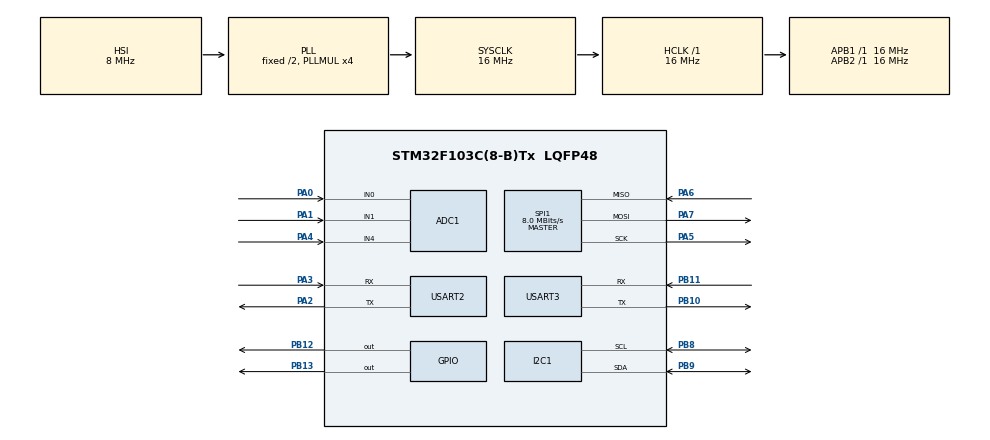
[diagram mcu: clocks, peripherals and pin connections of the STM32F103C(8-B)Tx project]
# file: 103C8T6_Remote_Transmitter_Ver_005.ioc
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ADC1.Channel-0\#ChannelRegularConversion=ADC_CHANNEL_4
ADC1.NbrOfConversion=1
ADC1.NbrOfConversionFlag=1
ADC1.Rank-0\#ChannelRegularConversion=1
ADC1.SamplingTime-0\#ChannelRegularConversion=ADC_SAMPLETIME_239CYCLES_5
ADC1.master=1
Mcu.Family=STM32F1
Mcu.Name=STM32F103C(8-B)Tx
Mcu.Package=LQFP48
NVIC.PriorityGroup=NVIC_PRIORITYGROUP_4
NVIC.USART3_IRQn=true\:0\:0\:false\:false\:true\:true\:true\:true
PA0-WKUP.Signal=ADCx_IN0
PA1.Signal=ADCx_IN1
PA13.Mode=Serial_Wire
PA13.Signal=SYS_JTMS-SWDIO
PA14.Mode=Serial_Wire
PA14.Signal=SYS_JTCK-SWCLK
PA2.Mode=Asynchronous
PA2.Signal=USART2_TX
PA3.Mode=Asynchronous
PA3.Signal=USART2_RX
PA4.Signal=ADCx_IN4
PA5.Mode=Full_Duplex_Master
PA5.Signal=SPI1_SCK
PA6.Mode=Full_Duplex_Master
PA6.Signal=SPI1_MISO
PA7.Mode=Full_Duplex_Master
PA7.Signal=SPI1_MOSI
PB10.Mode=Asynchronous
PB10.Signal=USART3_TX
PB11.Mode=Asynchronous
PB11.Signal=USART3_RX
PB12.Signal=GPIO_Output
PB13.Signal=GPIO_Output
PB8.Mode=I2C
PB8.Signal=I2C1_SCL
PB9.Mode=I2C
PB9.Signal=I2C1_SDA
PC14-OSC32_IN.Mode=LSE-External-Oscillator
PC14-OSC32_IN.Signal=RCC_OSC32_IN
PC15-OSC32_OUT.Mode=LSE-External-Oscillator
PC15-OSC32_OUT.Signal=RCC_OSC32_OUT
PD0-OSC_IN.Mode=HSE-External-Oscillator
PD0-OSC_IN.Signal=RCC_OSC_IN
PD1-OSC_OUT.Mode=HSE-External-Oscillator
PD1-OSC_OUT.Signal=RCC_OSC_OUT
ProjectManager.HeapSize=0x200
ProjectManager.StackSize=0x400
ProjectManager.TargetToolchain=STM32CubeIDE
RCC.AHBFreq_Value=16000000
RCC.APB1Freq_Value=16000000
RCC.APB1TimFreq_Value=16000000
RCC.APB2Freq_Value=16000000
RCC.APB2TimFreq_Value=16000000
RCC.HCLKFreq_Value=16000000
RCC.PLLMUL=RCC_PLL_MUL4
RCC.SYSCLKFreq_VALUE=16000000
RCC.SYSCLKSource=RCC_SYSCLKSOURCE_PLLCLK
RCC.USBFreq_Value=16000000
SH.ADCx_IN0.0=ADC1_IN0,IN0
SH.ADCx_IN1.0=ADC1_IN1,IN1
SH.ADCx_IN4.0=ADC1_IN4,IN4
SPI1.CalculateBaudRate=8.0 MBits/s
SPI1.Direction=SPI_DIRECTION_2LINES
SPI1.Mode=SPI_MODE_MASTER
SPI1.VirtualType=VM_MASTER
USART2.VirtualMode=VM_ASYNC
USART3.VirtualMode=VM_ASYNC
board=custom

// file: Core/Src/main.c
/* USER CODE BEGIN Header */
/**
 ******************************************************************************
 * @file           : main.c
 * @brief          : Main program body
 ******************************************************************************
 * @attention
 *
 * Copyright (c) 2025 STMicroelectronics.
 * All rights reserved.
 *
 * This software is licensed under terms that can be found in the LICENSE file
 * in the root directory of this software component.
 * If no LICENSE file comes with this software, it is provided AS-IS.
 *
 ******************************************************************************
 */
/* USER CODE END Header */
#include "main.h"

/* USER CODE BEGIN Includes */
#include "ssd1306.h"
#include <string.h>
#include <stdio.h>
#include <stdlib.h>
#include <stdint.h>
/* USER CODE END Includes */

/* USER CODE BEGIN PTD */
/* ===== NRF24 PROTOTYPES ===== */
void Run_NRF24_Test(void);
uint8_t nrf24_read_reg(uint8_t reg);
void nrf24_write_reg(uint8_t reg, uint8_t value);

/* ===== NRF24 COMMANDS ===== */
/* USER CODE BEGIN PTD */

// --- nRF24 commands & registers ---
#define NRF_CMD_R_REGISTER   0x00
#define NRF_CMD_W_REGISTER   0x20

#define NRF_REG_CONFIG       0x00
#define NRF_REG_RF_CH        0x05
#define NRF_REG_RF_SETUP     0x06
#define NRF_REG_STATUS       0x07

// --- nRF24 pin mapping (we are using: CSN=PB12, CE=PB13) ---
#define NRF_CSN_PORT         GPIOB
#define NRF_CSN_PIN          GPIO_PIN_12

#define NRF_CE_PORT          GPIOB
#define NRF_CE_PIN           GPIO_PIN_13

// helper macros
#define CE_HIGH()  HAL_GPIO_WritePin(NRF_CE_PORT, NRF_CE_PIN, GPIO_PIN_SET)
#define CE_LOW()   HAL_GPIO_WritePin(NRF_CE_PORT, NRF_CE_PIN, GPIO_PIN_RESET)
#define CSN_HIGH() HAL_GPIO_WritePin(NRF_CSN_PORT, NRF_CSN_PIN, GPIO_PIN_SET)
#define CSN_LOW()  HAL_GPIO_WritePin(NRF_CSN_PORT, NRF_CSN_PIN, GPIO_PIN_RESET)

/* USER CODE END PTD */

ADC_HandleTypeDef hadc1;

I2C_HandleTypeDef hi2c1;

SPI_HandleTypeDef hspi1;

UART_HandleTypeDef huart2;
UART_HandleTypeDef huart3;

/* USER CODE BEGIN PV */
#define RBUF_SIZE 256
volatile uint8_t rbuf[RBUF_SIZE];
volatile uint16_t rhead = 0, rtail = 0;

/* rx byte for interrupt */
uint8_t rx3_byte;

/* temporary line parser */
char line[48];
uint8_t line_idx = 0;

uint8_t cursor = 1;
uint8_t menu = 0; // 0 = main menu displayed (after unlock), 1 = test equipment submenu
int ui_state = 0; // 0 = locked/idle, 1 = Number Mode, 2 = Arrow Mode, 3 = Unlocked (menu active)

/* button counting */
int btn_counts[10]; // index by button ID 1..9 (we'll ignore 0)
uint32_t last_digit_time = 0; // rate limit for number entry (ms)
char passbuf[5]; // 4 digits + terminator
uint8_t passlen = 0;
/* USER CODE END PV */

void SystemClock_Config(void);
static void MX_GPIO_Init(void);
static void MX_ADC1_Init(void);
static void MX_I2C1_Init(void);
static void MX_SPI1_Init(void);
static void MX_USART2_UART_Init(void);
static void MX_USART3_UART_Init(void);
/* USER CODE BEGIN PFP */
/* USER CODE BEGIN PFP */

// Add these two prototypes to fix implicit declaration errors
static inline void UART2_Print(const char *s);
void reset_all_btn_counts(void);

void Error_Handler(void);
static inline void rbuf_push(uint8_t b);
static inline int rbuf_pop(uint8_t *out);
void UART3_Send(char *s);
void ShowMainMenu(uint8_t sel);
void ShowTestEquipmentMenu(uint8_t sel);
void DrawPassScreen(void);
void OLED_PrintCenteredLine(uint8_t y, const char *s);
void ResetToPasscodeScreen(void);
void Run_Joystick_Test(void);
void Run_NRF24_Test(void);
uint8_t nrf24_read_reg(uint8_t reg);
void nrf24_write_reg(uint8_t reg, uint8_t value);
void Run_ESP32_Serial_Test(void);
void Run_Pot_Test(void);

/* USER CODE END PFP */

int main(void)
{

  /* MCU Configuration--------------------------------------------------------*/

  /* Reset of all peripherals, Initializes the Flash interface and the Systick. */
  HAL_Init();

  /* Configure the system clock */
  SystemClock_Config();

  /* Initialize all configured peripherals */
  MX_GPIO_Init();
  MX_ADC1_Init();
  MX_I2C1_Init();
  MX_SPI1_Init();
  MX_USART2_UART_Init();
  MX_USART3_UART_Init();
  /* USER CODE BEGIN 2 */

	HAL_UART_Receive_IT(&huart3, &rx3_byte, 1);

	// init SSD1306
	SSD1306_Init();

	// startup banner on OLED and UART2
	SSD1306_Clear();
	SSD1306_WriteStringXY(0, 0, "Serial Communication");
	SSD1306_WriteStringXY(0, 12, "ESP32 <-> STM32");
	SSD1306_WriteStringXY(0, 26, "RX= PB11  TX= PB10");
	SSD1306_Update();

	HAL_Delay(5000);

	UART2_Print("=====================================\r\n");
	UART2_Print("Serial Communication of ESP32 and STM32\r\n");
	UART2_Print("RX = PB11   (STM32 RX <- ESP TX)\r\n");
	UART2_Print("TX = PB10   (STM32 TX -> ESP RX)\r\n");
	UART2_Print("=====================================\r\n");

	// Initial locked pass screen
	memset(btn_counts, 0, sizeof(btn_counts));
	ui_state = 0; // locked idle
	memset(passbuf, 0, sizeof(passbuf));
	passlen = 0;

	SSD1306_Clear();
	SSD1306_WriteStringXY(0, 0, "Welcome");
	SSD1306_WriteStringXY(0, 12, "Press BTN:3 x10 ->");
	SSD1306_WriteStringXY(0, 24, "Number Mode");
	SSD1306_WriteStringXY(0, 36, "Press BTN:1 x10 ->");
	SSD1306_WriteStringXY(0, 48, "Arrow Mode");
	SSD1306_Update();

  /* USER CODE END 2 */

  /* Infinite loop */
	while (1) {

    /* USER CODE BEGIN 3 */

		uint8_t ch;
		while (rbuf_pop(&ch)) {
			// build a line until newline
			if (ch == '\n') {
				line[line_idx] = 0;
				line_idx = 0;

				// print raw received line to UART2 as monitor
				char outline[64];
				snprintf(outline, sizeof(outline), "RX3: %s\r\n", line);
				UART2_Print(outline);

				// handle BTN: messages
				if (strncmp(line, "BTN:", 4) == 0) {
					if (btn_counts[9] >= 10) {
						ResetToPasscodeScreen();
						continue;
					}

					int bid = atoi(&line[4]);
					if (bid >= 1 && bid <= 9) {
						// increment counter for that button (trigger counters)
						btn_counts[bid]++;

						// print counter
						char tmp[48];
						snprintf(tmp, sizeof(tmp), "BTN %d count=%d\r\n", bid,
								btn_counts[bid]);
						UART2_Print(tmp);

						// check triggers for mode switching
						if (btn_counts[1] >= 10) {
							ui_state = 2; // Arrow Mode
							btn_counts[1] = 0; // reset trigger counter only
							UART2_Print("Mode -> ARROW MODE\r\n");
							SSD1306_Clear();
							SSD1306_WriteStringXY(0, 0, "MODE: ARROW");
							SSD1306_WriteStringXY(0, 14,
									"Buttons act as arrows");
							SSD1306_Update();
							HAL_Delay(600);
							ShowMainMenu(cursor); // if unlocked later, menu will show; for now show menu preview
							reset_all_btn_counts(); // optional: clear others to avoid accidental triggers
							continue;
						}
						if (btn_counts[3] >= 10) {
							ui_state = 1; // Number Mode
							btn_counts[3] = 0;
							UART2_Print("Mode -> NUMBER MODE\r\n");
							// prepare pass screen
							passlen = 0;
							memset(passbuf, 0, sizeof(passbuf));
							DrawPassScreen();
							reset_all_btn_counts();
							continue;
						}

						// If currently in Number Mode: append digits to pass (rate-limited)
						if (ui_state == 1) {
							uint32_t now = HAL_GetTick();
							if (now - last_digit_time >= 200) { // 200ms rate limit
								if (passlen < 4) {
									passbuf[passlen++] = '0' + bid;
									passbuf[passlen] = 0;
									last_digit_time = now;
									// update OLED + serial
									char t[32];
									snprintf(t, sizeof(t),
											"Digit %d appended\r\n", bid);
									UART2_Print(t);
									DrawPassScreen();
								}
								// when 4 digits collected, check pass
								if (passlen == 4) {
									if (strcmp(passbuf, "9985") == 0) {
										UART2_Print(
												"PASSCODE OK - UNLOCKED\r\n");
										SSD1306_Clear();
										SSD1306_WriteStringXY(0, 0,
												"PASSCODE OK");
										SSD1306_Update();
										HAL_Delay(600);
										ui_state = 3; // unlocked
										// open main menu
										menu = 0;
										cursor = 1;
										ShowMainMenu(cursor);
									} else {
										UART2_Print("PASSCODE WRONG\r\n");
										SSD1306_Clear();
										SSD1306_WriteStringXY(0, 0,
												"Wrong Passcode");
										SSD1306_Update();
										HAL_Delay(800);
										passlen = 0;
										memset(passbuf, 0, sizeof(passbuf));
										DrawPassScreen();
									}
								}
							} // rate limit
							continue; // handled the BTN
						} // end number mode handling

						// If ui_state == 2 (Arrow Mode) OR ui_state == 3 (Unlocked menu),
						// interpret specific buttons as navigation.
						if (ui_state == 2 || ui_state == 3) {
							// mapping: 2->UP, 8->DOWN, 4->LEFT, 6->RIGHT, 5->ENTER, 7->BACK
							switch (bid) {
							case 2: // UP
								UART2_Print("ACTION: UP\r\n");
								if (ui_state == 3) { // menu navigation only when unlocked
									if (menu == 0) {
										cursor--;
										if (cursor < 1)
											cursor = 3;
										ShowMainMenu(cursor);
									} else if (menu == 1) {
										cursor--;
										if (cursor < 1)
											cursor = 4;
										ShowTestEquipmentMenu(cursor);
									}
								}
								break;
							case 8: // DOWN
								UART2_Print("ACTION: DOWN\r\n");
								if (ui_state == 3) {
									if (menu == 0) {
										cursor++;
										if (cursor > 3)
											cursor = 1;
										ShowMainMenu(cursor);
									} else if (menu == 1) {
										cursor++;
										if (cursor > 4)
											cursor = 1;
										ShowTestEquipmentMenu(cursor);
									}
								}
								break;
							case 4: // LEFT
								UART2_Print("ACTION: LEFT\r\n");
								// treat as "back" in menus
								if (ui_state == 3) {
									if (menu == 1) {
										menu = 0;
										cursor = 1;
										ShowMainMenu(cursor);
									}
								}
								break;
							case 6: // RIGHT
								UART2_Print("ACTION: RIGHT\r\n");
								// treat as select/enter fallback
								if (ui_state == 3) {
									// same as enter
									// fallthrough intentionally not done
								}
								break;
							case 5: // ENTER
								UART2_Print("ACTION: ENTER\r\n");

								if (ui_state == 3) {

									if (menu == 0) {

										if (cursor == 1) {
											menu = 1;
											cursor = 1;
											ShowTestEquipmentMenu(cursor);
										}

										else if (cursor == 2) {
											UART2_Print("Open NRF Control\n");
										}

										else if (cursor == 3) {
											UART2_Print("Open Autonomous\n");
										}
									}

									else if (menu == 1) {

										if (cursor == 1) {
											UART2_Print(
													"Opening Joystick Test...\r\n");
											Run_Joystick_Test();
											ShowTestEquipmentMenu(cursor);
										}

										else if (cursor == 2) {
											UART2_Print(
													"Open ESP32 Serial...\r\n");
											Run_ESP32_Serial_Test();
											ShowTestEquipmentMenu(cursor);
										}

										else if (cursor == 3) {
											UART2_Print(
													"Open NRF Module...\r\n");
											Run_NRF24_Test();
											ShowTestEquipmentMenu(cursor);
										}

										else if (cursor == 4) {
											UART2_Print(
													"Open Potentiometer...\r\n");
											Run_Pot_Test();
											ShowTestEquipmentMenu(cursor);
										}
									}
								}
								break;

							case 7: // BACK
								UART2_Print("ACTION: BACK\r\n");
								if (ui_state == 3) {
									if (menu == 1) {
										menu = 0;
										cursor = 1;
										ShowMainMenu(cursor);
									}
								}
								break;
							default:
								break;
							} // switch
							continue; // handled
						} // end arrow/unlocked handling

						// else: in idle state (ui_state==0) but no triggers yet - do nothing except counts
					} // bid valid
				} // BTN line
			} else if (ch != '\r') {
				// append char to line buffer (protect overflow)
				if (line_idx < (sizeof(line) - 1)) {
					line[line_idx++] = ch;
				} else {
					// overflow - reset
					line_idx = 0;
				}
			}
		} // rbuf_pop processing

		HAL_Delay(1);
	}
  /* USER CODE END 3 */
}

void SystemClock_Config(void)
{
  RCC_OscInitTypeDef RCC_OscInitStruct = {0};
  RCC_ClkInitTypeDef RCC_ClkInitStruct = {0};
  RCC_PeriphCLKInitTypeDef PeriphClkInit = {0};

  /** Initializes the RCC Oscillators according to the specified parameters
  * in the RCC_OscInitTypeDef structure.
  */
  RCC_OscInitStruct.OscillatorType = RCC_OSCILLATORTYPE_HSI;
  RCC_OscInitStruct.HSIState = RCC_HSI_ON;
  RCC_OscInitStruct.HSICalibrationValue = RCC_HSICALIBRATION_DEFAULT;
  RCC_OscInitStruct.PLL.PLLState = RCC_PLL_ON;
  RCC_OscInitStruct.PLL.PLLSource = RCC_PLLSOURCE_HSI_DIV2;
  RCC_OscInitStruct.PLL.PLLMUL = RCC_PLL_MUL4;
  if (HAL_RCC_OscConfig(&RCC_OscInitStruct) != HAL_OK)
  {
    Error_Handler();
  }

  /** Initializes the CPU, AHB and APB buses clocks
  */
  RCC_ClkInitStruct.ClockType = RCC_CLOCKTYPE_HCLK|RCC_CLOCKTYPE_SYSCLK
                              |RCC_CLOCKTYPE_PCLK1|RCC_CLOCKTYPE_PCLK2;
  RCC_ClkInitStruct.SYSCLKSource = RCC_SYSCLKSOURCE_PLLCLK;
  RCC_ClkInitStruct.AHBCLKDivider = RCC_SYSCLK_DIV1;
  RCC_ClkInitStruct.APB1CLKDivider = RCC_HCLK_DIV1;
  RCC_ClkInitStruct.APB2CLKDivider = RCC_HCLK_DIV1;

  if (HAL_RCC_ClockConfig(&RCC_ClkInitStruct, FLASH_LATENCY_0) != HAL_OK)
  {
    Error_Handler();
  }
  PeriphClkInit.PeriphClockSelection = RCC_PERIPHCLK_ADC;
  PeriphClkInit.AdcClockSelection = RCC_ADCPCLK2_DIV2;
  if (HAL_RCCEx_PeriphCLKConfig(&PeriphClkInit) != HAL_OK)
  {
    Error_Handler();
  }
}

static void MX_ADC1_Init(void)
{

  ADC_ChannelConfTypeDef sConfig = {0};

  /** Common config
  */
  hadc1.Instance = ADC1;
  hadc1.Init.ScanConvMode = ADC_SCAN_DISABLE;
  hadc1.Init.ContinuousConvMode = DISABLE;
  hadc1.Init.DiscontinuousConvMode = DISABLE;
  hadc1.Init.ExternalTrigConv = ADC_SOFTWARE_START;
  hadc1.Init.DataAlign = ADC_DATAALIGN_RIGHT;
  hadc1.Init.NbrOfConversion = 1;
  if (HAL_ADC_Init(&hadc1) != HAL_OK)
  {
    Error_Handler();
  }

  /** Configure Regular Channel
  */
  sConfig.Channel = ADC_CHANNEL_4;
  sConfig.Rank = ADC_REGULAR_RANK_1;
  sConfig.SamplingTime = ADC_SAMPLETIME_239CYCLES_5;
  if (HAL_ADC_ConfigChannel(&hadc1, &sConfig) != HAL_OK)
  {
    Error_Handler();
  }

}

static void MX_I2C1_Init(void)
{

  hi2c1.Instance = I2C1;
  hi2c1.Init.ClockSpeed = 100000;
  hi2c1.Init.DutyCycle = I2C_DUTYCYCLE_2;
  hi2c1.Init.OwnAddress1 = 0;
  hi2c1.Init.AddressingMode = I2C_ADDRESSINGMODE_7BIT;
  hi2c1.Init.DualAddressMode = I2C_DUALADDRESS_DISABLE;
  hi2c1.Init.OwnAddress2 = 0;
  hi2c1.Init.GeneralCallMode = I2C_GENERALCALL_DISABLE;
  hi2c1.Init.NoStretchMode = I2C_NOSTRETCH_DISABLE;
  if (HAL_I2C_Init(&hi2c1) != HAL_OK)
  {
    Error_Handler();
  }

}

static void MX_SPI1_Init(void)
{

  /* SPI1 parameter configuration*/
  hspi1.Instance = SPI1;
  hspi1.Init.Mode = SPI_MODE_MASTER;
  hspi1.Init.Direction = SPI_DIRECTION_2LINES;
  hspi1.Init.DataSize = SPI_DATASIZE_8BIT;
  hspi1.Init.CLKPolarity = SPI_POLARITY_LOW;
  hspi1.Init.CLKPhase = SPI_PHASE_1EDGE;
  hspi1.Init.NSS = SPI_NSS_SOFT;
  hspi1.Init.BaudRatePrescaler = SPI_BAUDRATEPRESCALER_2;
  hspi1.Init.FirstBit = SPI_FIRSTBIT_MSB;
  hspi1.Init.TIMode = SPI_TIMODE_DISABLE;
  hspi1.Init.CRCCalculation = SPI_CRCCALCULATION_DISABLE;
  hspi1.Init.CRCPolynomial = 10;
  if (HAL_SPI_Init(&hspi1) != HAL_OK)
  {
    Error_Handler();
  }

}

static void MX_USART2_UART_Init(void)
{

  huart2.Instance = USART2;
  huart2.Init.BaudRate = 115200;
  huart2.Init.WordLength = UART_WORDLENGTH_8B;
  huart2.Init.StopBits = UART_STOPBITS_1;
  huart2.Init.Parity = UART_PARITY_NONE;
  huart2.Init.Mode = UART_MODE_TX_RX;
  huart2.Init.HwFlowCtl = UART_HWCONTROL_NONE;
  huart2.Init.OverSampling = UART_OVERSAMPLING_16;
  if (HAL_UART_Init(&huart2) != HAL_OK)
  {
    Error_Handler();
  }

}

static void MX_USART3_UART_Init(void)
{

  huart3.Instance = USART3;
  huart3.Init.BaudRate = 115200;
  huart3.Init.WordLength = UART_WORDLENGTH_8B;
  huart3.Init.StopBits = UART_STOPBITS_1;
  huart3.Init.Parity = UART_PARITY_NONE;
  huart3.Init.Mode = UART_MODE_TX_RX;
  huart3.Init.HwFlowCtl = UART_HWCONTROL_NONE;
  huart3.Init.OverSampling = UART_OVERSAMPLING_16;
  if (HAL_UART_Init(&huart3) != HAL_OK)
  {
    Error_Handler();
  }

}

static void MX_GPIO_Init(void)
{
  GPIO_InitTypeDef GPIO_InitStruct = {0};

  /* GPIO Ports Clock Enable */
  __HAL_RCC_GPIOC_CLK_ENABLE();
  __HAL_RCC_GPIOD_CLK_ENABLE();
  __HAL_RCC_GPIOA_CLK_ENABLE();
  __HAL_RCC_GPIOB_CLK_ENABLE();

  /*Configure GPIO pin Output Level */
  HAL_GPIO_WritePin(GPIOB, GPIO_PIN_12|GPIO_PIN_13, GPIO_PIN_RESET);

  /*Configure GPIO pins : PB12 PB13 */
  GPIO_InitStruct.Pin = GPIO_PIN_12|GPIO_PIN_13;
  GPIO_InitStruct.Mode = GPIO_MODE_OUTPUT_PP;
  GPIO_InitStruct.Pull = GPIO_NOPULL;
  GPIO_InitStruct.Speed = GPIO_SPEED_FREQ_LOW;
  HAL_GPIO_Init(GPIOB, &GPIO_InitStruct);

}

/* USER CODE BEGIN 4 */

static inline void UART2_Print(const char *s) {
	HAL_UART_Transmit(&huart2, (uint8_t*) s, strlen(s), HAL_MAX_DELAY);
}

/* ---------- ring buffer helpers ---------- */
static inline void rbuf_push(uint8_t b) {
	uint16_t next = (rhead + 1) & (RBUF_SIZE - 1);
	if (next != rtail) {
		rbuf[rhead] = b;
		rhead = next;
	}
}

static inline int rbuf_pop(uint8_t *out) {
	if (rtail == rhead)
		return 0;
	*out = rbuf[rtail];
	rtail = (rtail + 1) & (RBUF_SIZE - 1);
	return 1;
}

/* UART3 RX complete callback */
void HAL_UART_RxCpltCallback(UART_HandleTypeDef *huart) {
	if (huart->Instance == USART3) {
		rbuf_push(rx3_byte);
		HAL_UART_Receive_IT(&huart3, &rx3_byte, 1);
	}
}

/* Send string to ESP32 (UART3) */
void UART3_Send(char *s) {
	HAL_UART_Transmit(&huart3, (uint8_t*) s, strlen(s), HAL_MAX_DELAY);
}

/* ---------- SSD1306 UI helpers ---------- */

void DrawPassScreen(void) {
	SSD1306_Clear();

	SSD1306_WriteStringXY(0, 0, "MODE: NUMBER");
	SSD1306_WriteStringXY(0, 12, "Enter Pass:");

	char disp[16];
	snprintf(disp, sizeof(disp), "PASS: %c%c%c%c",
			(passlen > 0 ? passbuf[0] : '_'), (passlen > 1 ? passbuf[1] : '_'),
			(passlen > 2 ? passbuf[2] : '_'), (passlen > 3 ? passbuf[3] : '_'));

	SSD1306_WriteStringXY(0, 28, disp);

	SSD1306_Update();
}

void ShowMainMenu(uint8_t sel) {
	SSD1306_Clear();
	SSD1306_WriteStringXY(0, 5,
			(sel == 1) ? "> 1) Test Equipment" : "  1) Test Equipment");
	SSD1306_WriteStringXY(0, 20,
			(sel == 2) ? "> 2) NRF Control" : "  2) NRF Control");
	SSD1306_WriteStringXY(0, 35,
			(sel == 3) ? "> 3) Autonomous Ctrl" : "  3) Autonomous Ctrl");
	SSD1306_Update();
}

void ShowTestEquipmentMenu(uint8_t sel) {
	SSD1306_Clear();

	SSD1306_WriteStringXY(0, 5,
			(sel == 1) ? "> 1) Test Joy stick" : "  1) Test Joy stick");
	SSD1306_WriteStringXY(0, 20,
			(sel == 2) ? "> 2) ESP32 Serial" : "  2) ESP32 Serial");
	SSD1306_WriteStringXY(0, 35,
			(sel == 3) ? "> 3) NRF Module" : "  3) NRF Module");
	SSD1306_WriteStringXY(0, 55,
			(sel == 4) ? "> 4) Potentiometer" : "  4) Potentiometer");
	SSD1306_Update();
}

void OLED_PrintCenteredLine(uint8_t y, const char *s) {
	SSD1306_Clear();
	SSD1306_WriteStringXY((128 - strlen(s) * 6) / 2, y, s);
	SSD1306_Update();
}

/* ---------- utility: reset mode counters ---------- */
void reset_all_btn_counts(void) {
	for (int i = 0; i < 10; i++)
		btn_counts[i] = 0;
}
void ResetToPasscodeScreen(void) {
	// Reset all states
	ui_state = 1;   // Number mode
	menu = 0;
	cursor = 1;

	// Reset password buffer
	passlen = 0;
	memset(passbuf, 0, sizeof(passbuf));

	// Clear button counters
	reset_all_btn_counts();

	// OLED message
	SSD1306_Clear();
	SSD1306_WriteStringXY(0, 0, "RESET TRIGGERED");
	SSD1306_WriteStringXY(0, 14, "Returning to");
	SSD1306_WriteStringXY(0, 26, "Passcode Screen...");
	SSD1306_Update();
	HAL_Delay(800);

	// Now show enter-pass screen
	DrawPassScreen();

	// Debug serial print
	UART2_Print("RESET → PASSCODE SCREEN\r\n");
}

// ---------- nRF24 SPI helpers ----------

uint8_t nrf24_read_reg(uint8_t reg) {
	uint8_t cmd = NRF_CMD_R_REGISTER | (reg & 0x1F);
	uint8_t val = 0xFF;

	CSN_LOW();  // CSN LOW = start SPI transaction

	HAL_SPI_Transmit(&hspi1, &cmd, 1, HAL_MAX_DELAY);
	HAL_SPI_Receive(&hspi1, &val, 1, HAL_MAX_DELAY);

	CSN_HIGH(); // CSN HIGH = end SPI transaction

	return val;
}

void nrf24_write_reg(uint8_t reg, uint8_t value) {
	uint8_t buf[2];
	buf[0] = NRF_CMD_W_REGISTER | (reg & 0x1F);
	buf[1] = value;

	CSN_LOW();
	HAL_SPI_Transmit(&hspi1, buf, 2, HAL_MAX_DELAY);
	CSN_HIGH();
}

void Run_Joystick_Test(void) {
	UART2_Print("=== JOYSTICK TEST STARTED ===\r\n");

	SSD1306_Clear();
	SSD1306_WriteStringXY(0, 0, "Joystick Test");
	SSD1306_WriteStringXY(0, 14, "Reading values...");
	SSD1306_Update();

	uint16_t centerY = 2700;
	uint16_t centerX = 3150;

	const int deadzone = 300;
	const int threshold = 600;

	uint16_t joyY, joyX;
	int16_t dy, dx;
	char buffer[60];

	while (1) {

		/* ========== READ BTN FROM ESP32 ========== */
		uint8_t ch;
		while (rbuf_pop(&ch)) {

			if (ch == '\n') {
				line[line_idx] = 0;
				line_idx = 0;

				if (strncmp(line, "BTN:", 4) == 0) {
					int bid = atoi(&line[4]);
					btn_counts[bid]++;

					/* EXIT ON BUTTON 7 */
					if (bid == 7) {
						btn_counts[7] = 0;
						UART2_Print("Exiting Joystick Test...\r\n");

						SSD1306_Clear();
						SSD1306_WriteStringXY(0, 0, "Exiting...");
						SSD1306_Update();

						HAL_Delay(300);
						return;
					}
				}
			} else if (ch != '\r') {
				if (line_idx < sizeof(line) - 1)
					line[line_idx++] = ch;
				else
					line_idx = 0;
			}
		}

		/* ========== READ ADC Y ========== */
		ADC_ChannelConfTypeDef sConfig = { 0 };
		sConfig.Channel = ADC_CHANNEL_0;
		sConfig.Rank = ADC_REGULAR_RANK_1;
		sConfig.SamplingTime = ADC_SAMPLETIME_55CYCLES_5;
		HAL_ADC_ConfigChannel(&hadc1, &sConfig);

		HAL_ADC_Start(&hadc1);
		HAL_ADC_PollForConversion(&hadc1, HAL_MAX_DELAY);
		joyY = HAL_ADC_GetValue(&hadc1);

		/* ========== READ ADC X ========== */
		sConfig.Channel = ADC_CHANNEL_1;
		HAL_ADC_ConfigChannel(&hadc1, &sConfig);

		HAL_ADC_Start(&hadc1);
		HAL_ADC_PollForConversion(&hadc1, HAL_MAX_DELAY);
		joyX = HAL_ADC_GetValue(&hadc1);
		HAL_ADC_Stop(&hadc1);

		/* ---------- PROCESS ---------- */
		dy = joyY - centerY;
		dx = joyX - centerX;

		if (abs(dy) < deadzone)
			dy = 0;
		if (abs(dx) < deadzone)
			dx = 0;

		if (dy < -threshold)
			sprintf(buffer, "UP      Value: 0\r\n");
		else if (dy > threshold)
			sprintf(buffer, "DOWN    Value: 4095\r\n");
		else if (dx < -threshold)
			sprintf(buffer, "LEFT    Value: 0\r\n");
		else if (dx > threshold)
			sprintf(buffer, "RIGHT   Value: 4095\r\n");
		else
			sprintf(buffer, "CENTER  Y=%u  X=%u\r\n", joyY, joyX);

		UART2_Print(buffer);

		/* ---------- OLED UPDATE ---------- */
		SSD1306_Clear();
		SSD1306_WriteStringXY(0, 0, "Joystick Test");

		if (dy < -threshold)
			SSD1306_WriteStringXY(0, 16, "UP      Val:0");
		else if (dy > threshold)
			SSD1306_WriteStringXY(0, 16, "DOWN    Val:4095");
		else if (dx < -threshold)
			SSD1306_WriteStringXY(0, 16, "LEFT    Val:0");
		else if (dx > threshold)
			SSD1306_WriteStringXY(0, 16, "RIGHT   Val:4095");
		else {
			char mid[32];
			sprintf(mid, "CEN Y=%u X=%u", joyY, joyX);
			SSD1306_WriteStringXY(0, 16, mid);
		}

		SSD1306_Update();

		HAL_Delay(120);
	}
}

void Run_ESP32_Serial_Test(void) {

	UART2_Print("=== ESP32 SERIAL TEST STARTED ===\r\n");

	SSD1306_Clear();
	SSD1306_WriteStringXY(0, 0, "ESP32 Serial Test");
	SSD1306_WriteStringXY(0, 14, "Send 1-9 from ESP");
	SSD1306_WriteStringXY(0, 26, "5x2 = Exit");
	SSD1306_Update();

	int five_press = 0;  // counter for EXIT

	line_idx = 0;

	while (1) {

		uint8_t ch;
		while (rbuf_pop(&ch)) {

			if (ch == '\n') {
				line[line_idx] = 0;
				line_idx = 0;

				// expecting BTN:X
				if (strncmp(line, "BTN:", 4) == 0) {

					int bid = atoi(&line[4]);

					char msg[32];
					snprintf(msg, sizeof(msg), "ESP Sent: %d\r\n", bid);
					UART2_Print(msg);

					// display on OLED
					SSD1306_Clear();
					SSD1306_WriteStringXY(0, 0, "ESP32 Serial Test");

					char num[16];
					sprintf(num, "Number: %d", bid);
					SSD1306_WriteStringXY(0, 16, num);
					SSD1306_WriteStringXY(0, 32, "Press 5 two times");
					SSD1306_Update();

					/* ===== EXIT LOGIC ===== */
					if (bid == 5) {
						five_press++;
						if (five_press >= 2) {
							five_press = 0;

							UART2_Print("Exiting ESP32 Serial Test...\r\n");

							SSD1306_Clear();
							SSD1306_WriteStringXY(0, 0, "Exiting...");
							SSD1306_Update();

							HAL_Delay(300);
							return;
						}
					} else {
						// print all other numbers unlimited times
						five_press = 0; // reset exit counter
					}
				}
			} else if (ch != '\r') {
				if (line_idx < sizeof(line) - 1)
					line[line_idx++] = ch;
				else
					line_idx = 0;
			}
		}

		HAL_Delay(5);
	}
}

void Run_NRF24_Test(void) {
	UART2_Print("=== nRF24 SELF TEST ===\r\n");

	// Ensure correct idle states
	CSN_HIGH();
	CE_LOW();
	HAL_Delay(5);

	// Write CONFIG = PWR_UP + CRC (0x0A) like your working test code
	nrf24_write_reg(NRF_REG_CONFIG, 0x0A);
	HAL_Delay(5);

	// Read back registers
	uint8_t cfg = nrf24_read_reg(NRF_REG_CONFIG);
	uint8_t rfch = nrf24_read_reg(NRF_REG_RF_CH);
	uint8_t rfst = nrf24_read_reg(NRF_REG_RF_SETUP);
	uint8_t stat = nrf24_read_reg(NRF_REG_STATUS);

	// Print to UART (TeraTerm)
	char msg[64];

	snprintf(msg, sizeof(msg), "CONFIG   = 0x%02X\r\n", cfg);
	UART2_Print(msg);

	snprintf(msg, sizeof(msg), "RF_CH    = 0x%02X\r\n", rfch);
	UART2_Print(msg);

	snprintf(msg, sizeof(msg), "RF_SETUP = 0x%02X\r\n", rfst);
	UART2_Print(msg);

	snprintf(msg, sizeof(msg), "STATUS   = 0x%02X\r\n", stat);
	UART2_Print(msg);

	if (cfg == 0x0A)
		UART2_Print("nRF24 DETECTED OK\r\n");
	else
		UART2_Print("nRF24 NOT RESPONDING\r\n");

	// ---------- OLED DISPLAY ----------
	SSD1306_Clear();

	char line1[20];
	char line2[20];

	snprintf(line1, sizeof(line1), "CFG:%02X CH:%02X", cfg, rfch);
	snprintf(line2, sizeof(line2), "SET:%02X ST:%02X", rfst, stat);

	SSD1306_WriteStringXY(0, 14, line1);
	SSD1306_WriteStringXY(0, 28, line2);
	SSD1306_WriteStringXY(0, 42, (cfg == 0x0A) ? "DETECTED OK" : "NO RESPONSE");

	SSD1306_Update();

	// ---------- WAIT FOR BUTTON 7 (BACK) ----------
	memset(btn_counts, 0, sizeof(btn_counts));
	line_idx = 0;

	while (1) {
		uint8_t ch;
		while (rbuf_pop(&ch)) {
			if (ch == '\n') {
				line[line_idx] = 0;
				line_idx = 0;

				if (strncmp(line, "BTN:", 4) == 0) {
					int bid = atoi(&line[4]);
					if (bid == 7)   // BACK button
							{
						UART2_Print("Exiting nRF24 Test...\r\n");
						HAL_Delay(200);
						return;     // go back to menu
					}
				}
			} else if (ch != '\r') {
				if (line_idx < sizeof(line) - 1)
					line[line_idx++] = ch;
				else
					line_idx = 0;
			}
		}

		HAL_Delay(1);
	}
}
void Run_Pot_Test(void) {
	UART2_Print("=== POTENTIOMETER TEST STARTED ===\r\n");

	SSD1306_Clear();
	SSD1306_WriteStringXY(0, 0, "Potentiometer Test");
	SSD1306_WriteStringXY(0, 14, "Reading A4...");
	SSD1306_Update();

	line_idx = 0;
	memset(btn_counts, 0, sizeof(btn_counts));

	ADC_ChannelConfTypeDef sConfig = { 0 };

	while (1) {
		/* ---------- CHECK FOR BACK BUTTON ---------- */
		uint8_t ch;
		while (rbuf_pop(&ch)) {
			if (ch == '\n') {
				line[line_idx] = 0;
				line_idx = 0;

				if (strncmp(line, "BTN:", 4) == 0) {
					int bid = atoi(&line[4]);

					if (bid == 7) {
						UART2_Print("Exiting Pot Test...\r\n");

						SSD1306_Clear();
						SSD1306_WriteStringXY(0, 0, "Exiting...");
						SSD1306_Update();

						HAL_Delay(300);
						return;
					}
				}
			} else if (ch != '\r') {
				if (line_idx < sizeof(line) - 1)
					line[line_idx++] = ch;
				else
					line_idx = 0;
			}
		}

		/* ---------- ADC READ (A4 = ADC1_IN4) ---------- */
		sConfig.Channel = ADC_CHANNEL_4;
		sConfig.Rank = ADC_REGULAR_RANK_1;
		sConfig.SamplingTime = ADC_SAMPLETIME_55CYCLES_5;
		HAL_ADC_ConfigChannel(&hadc1, &sConfig);

		HAL_ADC_Start(&hadc1);
		HAL_ADC_PollForConversion(&hadc1, HAL_MAX_DELAY);
		uint16_t pot = HAL_ADC_GetValue(&hadc1);
		HAL_ADC_Stop(&hadc1);

		/* ---------- SERIAL PRINT ---------- */
		char msg[40];
		snprintf(msg, sizeof(msg), "POT Value = %u\r\n", pot);
		UART2_Print(msg);

		/* ---------- OLED UPDATE ---------- */
		SSD1306_Clear();
		SSD1306_WriteStringXY(0, 0, "Potentiometer Test");

		char line1[20];
		sprintf(line1, "RAW: %u", pot);
		SSD1306_WriteStringXY(0, 16, line1);

		/* Percentage (0–4095) */
		uint8_t percent = (pot * 100) / 4095;

		char line2[20];
		sprintf(line2, "PERC: %d%%", percent);
		SSD1306_WriteStringXY(0, 32, line2);

		SSD1306_WriteStringXY(0, 50, "Press 7 to Back");

		SSD1306_Update();

		HAL_Delay(150);
	}
}

/* USER CODE END 4 */

void Error_Handler(void)
{
	__disable_irq();
	while (1) {
	}
}
